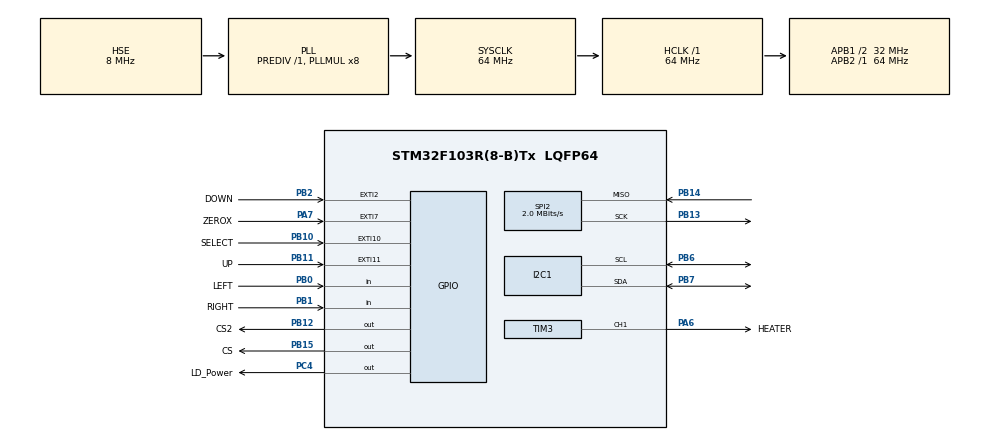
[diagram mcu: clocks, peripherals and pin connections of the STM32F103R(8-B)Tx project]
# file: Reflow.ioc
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I2C1.I2C_Mode=I2C_Fast
Mcu.Family=STM32F1
Mcu.Name=STM32F103R(8-B)Tx
Mcu.Package=LQFP64
NVIC.EXTI15_10_IRQn=true\:13\:0\:true\:false\:true\:true\:true
NVIC.EXTI2_IRQn=true\:15\:0\:true\:false\:true\:true\:true
NVIC.EXTI9_5_IRQn=true\:5\:0\:true\:false\:true\:true\:true
NVIC.PriorityGroup=NVIC_PRIORITYGROUP_4
NVIC.SPI2_IRQn=true\:10\:0\:true\:false\:true\:true\:true
NVIC.TIM3_IRQn=true\:12\:0\:true\:false\:true\:true\:true
PA13.GPIO_Label=TMS
PA13.Mode=Serial_Wire
PA13.Signal=SYS_JTMS-SWDIO
PA14.GPIO_Label=TCK
PA14.Mode=Serial_Wire
PA14.Signal=SYS_JTCK-SWCLK
PA6.GPIO_Label=HEATER
PA6.GPIO_ModeDefaultPP=GPIO_MODE_AF_PP
PA6.GPIO_Speed=GPIO_SPEED_FREQ_HIGH
PA6.Signal=S_TIM3_CH1
PA7.GPIO_Label=ZEROX
PA7.Signal=GPXTI7
PB0.GPIO_Label=LEFT
PB0.Signal=GPIO_Input
PB1.GPIO_Label=RIGHT
PB1.Signal=GPIO_Input
PB10.GPIO_Label=SELECT
PB10.Signal=GPXTI10
PB11.GPIO_Label=UP
PB11.Signal=GPXTI11
PB12.GPIO_Label=CS2
PB12.GPIO_Speed=GPIO_SPEED_FREQ_HIGH
PB12.PinState=GPIO_PIN_SET
PB12.Signal=GPIO_Output
PB13.Mode=RX_Only_Simplex_Unidirect_Master
PB13.Signal=SPI2_SCK
PB14.Mode=RX_Only_Simplex_Unidirect_Master
PB14.Signal=SPI2_MISO
PB15.GPIO_Label=CS
PB15.GPIO_Speed=GPIO_SPEED_FREQ_HIGH
PB15.PinState=GPIO_PIN_SET
PB15.Signal=GPIO_Output
PB2.GPIO_Label=DOWN
PB2.Signal=GPXTI2
PB3.Signal=SYS_JTDO-TRACESWO
PB6.Mode=I2C
PB6.Signal=I2C1_SCL
PB7.Mode=I2C
PB7.Signal=I2C1_SDA
PC14-OSC32_IN.Mode=LSE-External-Oscillator
PC14-OSC32_IN.Signal=RCC_OSC32_IN
PC15-OSC32_OUT.Mode=LSE-External-Oscillator
PC15-OSC32_OUT.Signal=RCC_OSC32_OUT
PC4.GPIO_Label=LD_Power
PC4.Signal=GPIO_Output
PD0-OSC_IN.Mode=HSE-External-Oscillator
PD0-OSC_IN.Signal=RCC_OSC_IN
PD1-OSC_OUT.Mode=HSE-External-Oscillator
PD1-OSC_OUT.Signal=RCC_OSC_OUT
ProjectManager.HeapSize=0x200
ProjectManager.StackSize=0x400
ProjectManager.TargetToolchain=STM32CubeIDE
RCC.AHBFreq_Value=64000000
RCC.APB1CLKDivider=RCC_HCLK_DIV2
RCC.APB1Freq_Value=32000000
RCC.APB1TimFreq_Value=64000000
RCC.APB2Freq_Value=64000000
RCC.APB2TimFreq_Value=64000000
RCC.EnbaleCSS=true
RCC.HCLKFreq_Value=64000000
RCC.PLLMUL=RCC_PLL_MUL8
RCC.PLLSourceVirtual=RCC_PLLSOURCE_HSE
RCC.SYSCLKFreq_VALUE=64000000
RCC.SYSCLKSource=RCC_SYSCLKSOURCE_PLLCLK
RCC.USBFreq_Value=64000000
SH.S_TIM3_CH1.0=TIM3_CH1,PWM Generation1 CH1
SPI2.BaudRatePrescaler=SPI_BAUDRATEPRESCALER_16
SPI2.CalculateBaudRate=2.0 MBits/s
SPI2.DataSize=SPI_DATASIZE_16BIT
SPI2.Direction=SPI_DIRECTION_2LINES_RXONLY
SPI2.Mode=SPI_MODE_MASTER
SPI2.VirtualType=VM_MASTER
TIM3.Channel-PWM\ Generation1\ CH1=TIM_CHANNEL_1
TIM3.OCFastMode_PWM-PWM\ Generation1\ CH1=TIM_OCFAST_ENABLE
TIM3.OCMode_PWM-PWM\ Generation1\ CH1=TIM_OCMODE_PWM2
TIM3.OCPolarity_1=TIM_OCPOLARITY_LOW
TIM3.Period=59999
TIM3.Prescaler=7
TIM3.Pulse-PWM\ Generation1\ CH1=45000
VP_TIM3_VS_ClockSourceINT.Mode=Internal
VP_TIM3_VS_OPM.Mode=OPM_bit
board=custom

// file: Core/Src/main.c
/* USER CODE BEGIN Header */
/**
  ******************************************************************************
  * @file           : main.c
  * @brief          : Main program body
  ******************************************************************************
  * @attention
  *
  * <h2><center>&copy; Copyright (c) 2019 STMicroelectronics.
  * All rights reserved.</center></h2>
  *
  * This software component is licensed by ST under BSD 3-Clause license,
  * the "License"; You may not use this file except in compliance with the
  * License. You may obtain a copy of the License at:
  *                        opensource.org/licenses/BSD-3-Clause
  *
  ******************************************************************************
  */
/* USER CODE END Header */

#include "main.h"

I2C_HandleTypeDef hi2c1;

SPI_HandleTypeDef hspi2;

/* USER CODE BEGIN PV */

uint32_t starttime;
uint32_t delaytime;
uint16_t temp;
/* USER CODE END PV */

void SystemClock_Config(void);
static void MX_GPIO_Init(void);
static void MX_I2C1_Init(void);
static void MX_SPI2_Init(void);
static void MX_TIM3_Init(void);

/* USER CODE BEGIN 0 */

/**
 * Configures the system clock and initialzes all configured peripherals
 */
void InitSystem(void) {
	SystemClock_Config(); // Configure the system clock

	// Initialize all configured peripherals
	MX_GPIO_Init();
	MX_I2C1_Init();
	MX_SPI2_Init();
	MX_TIM3_Init();

	starttime=0;
	delaytime=0;
}

/* USER CODE END 0 */

void SystemClock_Config(void)
{
  RCC_OscInitTypeDef RCC_OscInitStruct = {0};
  RCC_ClkInitTypeDef RCC_ClkInitStruct = {0};

  /** Initializes the CPU, AHB and APB busses clocks
  */
  RCC_OscInitStruct.OscillatorType = RCC_OSCILLATORTYPE_HSE;
  RCC_OscInitStruct.HSEState = RCC_HSE_ON;
  RCC_OscInitStruct.HSEPredivValue = RCC_HSE_PREDIV_DIV1;
  RCC_OscInitStruct.HSIState = RCC_HSI_ON;
  RCC_OscInitStruct.PLL.PLLState = RCC_PLL_ON;
  RCC_OscInitStruct.PLL.PLLSource = RCC_PLLSOURCE_HSE;
  RCC_OscInitStruct.PLL.PLLMUL = RCC_PLL_MUL8;
  if (HAL_RCC_OscConfig(&RCC_OscInitStruct) != HAL_OK)
  {
    Error_Handler();
  }
  /** Initializes the CPU, AHB and APB busses clocks
  */
  RCC_ClkInitStruct.ClockType = RCC_CLOCKTYPE_HCLK|RCC_CLOCKTYPE_SYSCLK
                              |RCC_CLOCKTYPE_PCLK1|RCC_CLOCKTYPE_PCLK2;
  RCC_ClkInitStruct.SYSCLKSource = RCC_SYSCLKSOURCE_PLLCLK;
  RCC_ClkInitStruct.AHBCLKDivider = RCC_SYSCLK_DIV1;
  RCC_ClkInitStruct.APB1CLKDivider = RCC_HCLK_DIV2;
  RCC_ClkInitStruct.APB2CLKDivider = RCC_HCLK_DIV1;

  if (HAL_RCC_ClockConfig(&RCC_ClkInitStruct, FLASH_LATENCY_2) != HAL_OK)
  {
    Error_Handler();
  }
  /** Enables the Clock Security System
  */
  HAL_RCC_EnableCSS();
}

static void MX_I2C1_Init(void)
{

  hi2c1.Instance = I2C1;
  hi2c1.Init.ClockSpeed = 400000;
  hi2c1.Init.DutyCycle = I2C_DUTYCYCLE_2;
  hi2c1.Init.OwnAddress1 = 0;
  hi2c1.Init.AddressingMode = I2C_ADDRESSINGMODE_7BIT;
  hi2c1.Init.DualAddressMode = I2C_DUALADDRESS_DISABLE;
  hi2c1.Init.OwnAddress2 = 0;
  hi2c1.Init.GeneralCallMode = I2C_GENERALCALL_DISABLE;
  hi2c1.Init.NoStretchMode = I2C_NOSTRETCH_DISABLE;
  if (HAL_I2C_Init(&hi2c1) != HAL_OK)
  {
    Error_Handler();
  }

}

static void MX_SPI2_Init(void)
{

  /* SPI2 parameter configuration*/
  hspi2.Instance = SPI2;
  hspi2.Init.Mode = SPI_MODE_MASTER;
  hspi2.Init.Direction = SPI_DIRECTION_2LINES_RXONLY;
  hspi2.Init.DataSize = SPI_DATASIZE_16BIT;
  hspi2.Init.CLKPolarity = SPI_POLARITY_LOW;
  hspi2.Init.CLKPhase = SPI_PHASE_1EDGE;
  hspi2.Init.NSS = SPI_NSS_SOFT;
  hspi2.Init.BaudRatePrescaler = SPI_BAUDRATEPRESCALER_16;
  hspi2.Init.FirstBit = SPI_FIRSTBIT_MSB;
  hspi2.Init.TIMode = SPI_TIMODE_DISABLE;
  hspi2.Init.CRCCalculation = SPI_CRCCALCULATION_DISABLE;
  hspi2.Init.CRCPolynomial = 10;
  if (HAL_SPI_Init(&hspi2) != HAL_OK)
  {
    Error_Handler();
  }

}

static void MX_TIM3_Init(void)
{

  LL_TIM_InitTypeDef TIM_InitStruct = {0};
  LL_TIM_OC_InitTypeDef TIM_OC_InitStruct = {0};

  LL_GPIO_InitTypeDef GPIO_InitStruct = {0};

  /* Peripheral clock enable */
  LL_APB1_GRP1_EnableClock(LL_APB1_GRP1_PERIPH_TIM3);

  /* TIM3 interrupt Init */
  NVIC_SetPriority(TIM3_IRQn, NVIC_EncodePriority(NVIC_GetPriorityGrouping(),12, 0));
  NVIC_EnableIRQ(TIM3_IRQn);

  TIM_InitStruct.Prescaler = 7;
  TIM_InitStruct.CounterMode = LL_TIM_COUNTERMODE_UP;
  TIM_InitStruct.Autoreload = 59999;
  TIM_InitStruct.ClockDivision = LL_TIM_CLOCKDIVISION_DIV1;
  LL_TIM_Init(TIM3, &TIM_InitStruct);
  LL_TIM_DisableARRPreload(TIM3);
  LL_TIM_SetClockSource(TIM3, LL_TIM_CLOCKSOURCE_INTERNAL);
  LL_TIM_OC_EnablePreload(TIM3, LL_TIM_CHANNEL_CH1);
  TIM_OC_InitStruct.OCMode = LL_TIM_OCMODE_PWM2;
  TIM_OC_InitStruct.OCState = LL_TIM_OCSTATE_DISABLE;
  TIM_OC_InitStruct.OCNState = LL_TIM_OCSTATE_DISABLE;
  TIM_OC_InitStruct.CompareValue = 45000;
  TIM_OC_InitStruct.OCPolarity = LL_TIM_OCPOLARITY_LOW;
  LL_TIM_OC_Init(TIM3, LL_TIM_CHANNEL_CH1, &TIM_OC_InitStruct);
  LL_TIM_OC_EnableFast(TIM3, LL_TIM_CHANNEL_CH1);
  LL_TIM_SetOnePulseMode(TIM3, LL_TIM_ONEPULSEMODE_SINGLE);
  LL_TIM_SetTriggerOutput(TIM3, LL_TIM_TRGO_RESET);
  LL_TIM_DisableMasterSlaveMode(TIM3);
  /* USER CODE BEGIN TIM3_Init 2 */

  /* Enable the capture/compare interrupt for channel 1 */
  LL_TIM_EnableIT_CC1(TIM3);

  /* USER CODE END TIM3_Init 2 */
  LL_APB2_GRP1_EnableClock(LL_APB2_GRP1_PERIPH_GPIOA);
  /**TIM3 GPIO Configuration
  PA6   ------> TIM3_CH1
  */
  GPIO_InitStruct.Pin = LL_GPIO_PIN_6;
  GPIO_InitStruct.Mode = LL_GPIO_MODE_ALTERNATE;
  GPIO_InitStruct.Speed = LL_GPIO_SPEED_FREQ_HIGH;
  GPIO_InitStruct.OutputType = LL_GPIO_OUTPUT_PUSHPULL;
  LL_GPIO_Init(GPIOA, &GPIO_InitStruct);

}

static void MX_GPIO_Init(void)
{
  GPIO_InitTypeDef GPIO_InitStruct = {0};

  /* GPIO Ports Clock Enable */
  __HAL_RCC_GPIOC_CLK_ENABLE();
  __HAL_RCC_GPIOD_CLK_ENABLE();
  __HAL_RCC_GPIOA_CLK_ENABLE();
  __HAL_RCC_GPIOB_CLK_ENABLE();

  /*Configure GPIO pin Output Level */
  HAL_GPIO_WritePin(LD_Power_GPIO_Port, LD_Power_Pin, GPIO_PIN_RESET);

  /*Configure GPIO pin Output Level */
  HAL_GPIO_WritePin(GPIOB, CS2_Pin|CS_Pin, GPIO_PIN_SET);

  /*Configure GPIO pin : ZEROX_Pin */
  GPIO_InitStruct.Pin = ZEROX_Pin;
  GPIO_InitStruct.Mode = GPIO_MODE_IT_RISING;
  GPIO_InitStruct.Pull = GPIO_NOPULL;
  HAL_GPIO_Init(ZEROX_GPIO_Port, &GPIO_InitStruct);

  /*Configure GPIO pin : LD_Power_Pin */
  GPIO_InitStruct.Pin = LD_Power_Pin;
  GPIO_InitStruct.Mode = GPIO_MODE_OUTPUT_PP;
  GPIO_InitStruct.Pull = GPIO_NOPULL;
  GPIO_InitStruct.Speed = GPIO_SPEED_FREQ_LOW;
  HAL_GPIO_Init(LD_Power_GPIO_Port, &GPIO_InitStruct);

  /*Configure GPIO pins : LEFT_Pin RIGHT_Pin */
  GPIO_InitStruct.Pin = LEFT_Pin|RIGHT_Pin;
  GPIO_InitStruct.Mode = GPIO_MODE_INPUT;
  GPIO_InitStruct.Pull = GPIO_NOPULL;
  HAL_GPIO_Init(GPIOB, &GPIO_InitStruct);

  /*Configure GPIO pins : DOWN_Pin SELECT_Pin UP_Pin */
  GPIO_InitStruct.Pin = DOWN_Pin|SELECT_Pin|UP_Pin;
  GPIO_InitStruct.Mode = GPIO_MODE_IT_RISING;
  GPIO_InitStruct.Pull = GPIO_NOPULL;
  HAL_GPIO_Init(GPIOB, &GPIO_InitStruct);

  /*Configure GPIO pins : CS2_Pin CS_Pin */
  GPIO_InitStruct.Pin = CS2_Pin|CS_Pin;
  GPIO_InitStruct.Mode = GPIO_MODE_OUTPUT_PP;
  GPIO_InitStruct.Pull = GPIO_NOPULL;
  GPIO_InitStruct.Speed = GPIO_SPEED_FREQ_HIGH;
  HAL_GPIO_Init(GPIOB, &GPIO_InitStruct);

  /* EXTI interrupt init*/
  HAL_NVIC_SetPriority(EXTI2_IRQn, 15, 0);
  HAL_NVIC_EnableIRQ(EXTI2_IRQn);

  HAL_NVIC_SetPriority(EXTI9_5_IRQn, 5, 0);
  HAL_NVIC_EnableIRQ(EXTI9_5_IRQn);

  HAL_NVIC_SetPriority(EXTI15_10_IRQn, 13, 0);
  HAL_NVIC_EnableIRQ(EXTI15_10_IRQn);

}

/* USER CODE BEGIN 4 */

void TimerCaptureCompare_Callback(void) {
	delaytime = HAL_GetTick()-starttime;
}

void setTime(uint32_t t) {
	starttime = t;
}
uint32_t getTimeDelay(void) {
	return delaytime;
}
void setTemp(uint16_t t) {
	temp = t;
}

/* USER CODE END 4 */

void Error_Handler(void)
{
  /* USER CODE BEGIN Error_Handler_Debug */
  /* User can add his own implementation to report the HAL error return state */
	HAL_Delay(1);
  /* USER CODE END Error_Handler_Debug */
}

/************************ (C) COPYRIGHT STMicroelectronics *****END OF FILE****/
